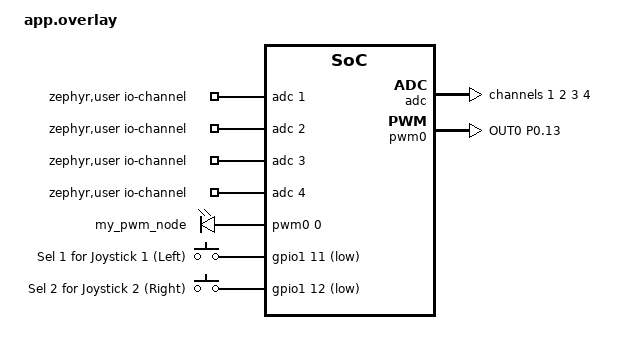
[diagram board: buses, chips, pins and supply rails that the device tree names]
// / { ... }; opens root node of the hardware tree

/ {
    // User node maps abstract logical channels to the C application
    zephyr,user {

        /* This creates an array of hardware pointers.
        &adc: A pointer reference to the actual ADC hardware block on the nRF52 chip.
        0: The channel index ID (the logical channel number inside that ADC block). */

        io-channels = <&adc 1>, <&adc 2>, <&adc 3>, <&adc 4>;
    };

    pwm_motor {
        compatible = "pwm-leds";
        my_pwm_node: pwm_node_0 {
            /* Wires this virtual LED to the physical hardware &pwm0, channel 0 */
            pwms = <&pwm0 0 PWM_HZ(1000) PWM_POLARITY_NORMAL>;
        };
    };

    buttons{
        compatible = "gpio-keys";

        sel_1: input_pin_1{
            gpios = <&gpio1 11 (GPIO_PULL_UP | GPIO_ACTIVE_LOW)>;
            label = "Sel 1 for Joystick 1 (Left)";
        };


        sel_2: input_pin_2{
            gpios = <&gpio1 12 (GPIO_PULL_UP | GPIO_ACTIVE_LOW)>;
            label = "Sel 2 for Joystick 2 (Right)";
        };
    };

};

// Pinctrl states are defined outside the root node, targeting the global pinctrl block

&pinctrl {
    pwm0_default: pwm0_default {
        group1 {
            /* Example: Routing PWM channel 0 to Pin P0.13 */
            psels = <NRF_PSEL(PWM_OUT0, 0, 13)>;
        };
    };
};

/* The nRF52 internal reference is 0.6V. Choosing a gain of ADC_GAIN_1_6 allows to safely measure an input range of 0V up to 3.6V (0.6V × 6).*/

// Configure the ADCs
&adc {
    status = "okay";

    // Following two are mandatory whenever a Devicetree node contains child nodes that use the reg property (like channel@0 and channel@1)
    #address-cells = <1>;
    #size-cells = <0>;

    // reg matches the node address index

    channel@1{
        reg = <1>;
        zephyr,gain = "ADC_GAIN_1_6";
        zephyr,reference = "ADC_REF_INTERNAL"; // internal reference of 0.6 V
        zephyr,acquisition-time = <ADC_ACQ_TIME_DEFAULT>;
        zephyr,input-positive = <NRF_SAADC_AIN1>; //SAADC stands for Successive Approximation ADC
        zephyr,resolution = <12>; // ADC resolution is 12 bit
    };

    channel@2{
        reg = <2>;
        zephyr,gain = "ADC_GAIN_1_6";
        zephyr,reference = "ADC_REF_INTERNAL"; // internal reference of 0.6 V
        zephyr,acquisition-time = <ADC_ACQ_TIME_DEFAULT>;
        zephyr,input-positive = <NRF_SAADC_AIN2>; //SAADC stands for Successive Approximation ADC
        zephyr,resolution = <12>; // ADC resolution is 12 bit
    };

    channel@3{
        reg = <3>;
        zephyr,gain = "ADC_GAIN_1_6";
        zephyr,reference = "ADC_REF_INTERNAL"; // internal reference of 0.6 V
        zephyr,acquisition-time = <ADC_ACQ_TIME_DEFAULT>;
        zephyr,input-positive = <NRF_SAADC_AIN3>; //SAADC stands for Successive Approximation ADC
        zephyr,resolution = <12>; // ADC resolution is 12 bit
    };

    channel@4{
        reg = <4>;
        zephyr,gain = "ADC_GAIN_1_6";
        zephyr,reference = "ADC_REF_INTERNAL"; // internal reference of 0.6 V
        zephyr,acquisition-time = <ADC_ACQ_TIME_DEFAULT>;
        zephyr,input-positive = <NRF_SAADC_AIN4>; //SAADC stands for Successive Approximation ADC
        zephyr,resolution = <12>; // ADC resolution is 12 bit
    };

};

/*
The number after the @ symbol (and inside the reg property) specifies the hardware address of the device on that specific bus.
*/

&pwm0 {
    status = "okay";
    pinctrl-0 = <&pwm0_default>;
    pinctrl-names = "default";
    /delete-property/ pinctrl-1;
};
